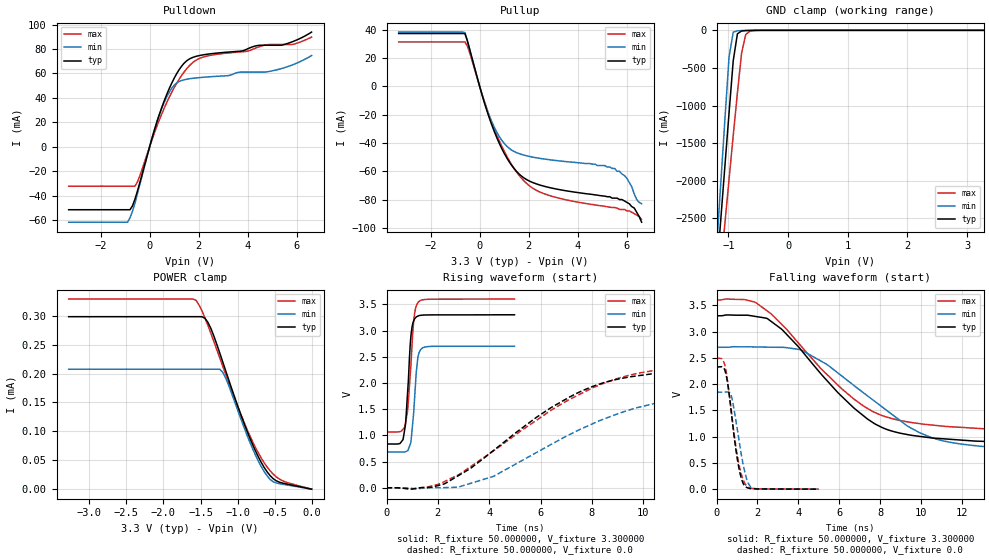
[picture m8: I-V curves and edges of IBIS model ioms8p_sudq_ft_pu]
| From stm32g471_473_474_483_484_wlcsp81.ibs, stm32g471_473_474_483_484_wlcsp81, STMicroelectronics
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|   Model ioms8p_sudq_ft_pu
[Model]  ioms8p_sudq_ft_pu
Model_type I/O
Polarity   Non-Inverting
Enable   Active-Low
Vinl =   0.990000V
Vinh =   2.310000V
Vmeas =  1.650000V
Cref =   50.000000pF
Rref =   100.000000M
Vref =   0.0V
C_comp   2.036400pF   1.984000pF   2.082300pF
[Temperature Range]   25.000000   -40.000000   0.125000k
[Pullup Reference]   3.300000V   2.700000V   3.600000V
[Pulldown Reference]   0.0V   0.0V   0.0V
[POWER Clamp Reference]   3.300000V   2.700000V   3.600000V
[GND Clamp Reference]   0.0V   0.0V   0.0V
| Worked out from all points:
|   slope of the pulldown table from 0 to 0.495 V, typ, clamps not added: 15.4 ohm
|   slope of the pullup table from 0 to 0.495 V, typ, clamps not added: 18.1 ohm
|   GND clamp passes 1 mA (typ) near -0.60 V on its own axis
|   rising waveform, R_fixture 50.000000, V_fixture 3.300000: 20-80 % time 178ps typ, 187ps min, 205ps max; typ from 0.836 V to 3.3 V
|   rising waveform, R_fixture 50.000000, V_fixture 0.0: 20-80 % time 4.14ns typ, 4.69ns min, 4.89ns max; typ from 0.001 V to 2.33 V
|   falling waveform, R_fixture 50.000000, V_fixture 3.300000: 20-80 % time 3.64ns typ, 4.21ns min, 3.93ns max; typ from 3.3 V to 0.836 V
|   falling waveform, R_fixture 50.000000, V_fixture 0.0: 20-80 % time 467ps typ, 485ps min, 522ps max; typ from 2.33 V to 0.001 V
[Pulldown]
|Voltage   I(typ)   I(min)   I(max)
-3.3V     -51.62mA   -61.84mA   -32.32mA
-900mV    -51.62mA   -61.84mA   -32.32mA
-800mV    -51.62mA   -58.24mA   -32.32mA
-500mV    -36.51mA   -38.7mA    -28.96mA
400mV     26.66mA    26.58mA    22.18mA
800mV     47.72mA    44.74mA    40.6mA
1.1V      59.79mA    52.18mA    51.93mA
1.5V      70.22mA    55.24mA    63.66mA
2.1V      74.97mA    56.75mA    72.88mA
4.9V      83.13mA    61.75mA    83.74mA
5.8V      85.85mA    66.87mA    83.74mA
6.6V      93.9mA     74.68mA    89.84mA
[Pullup]
|Voltage   I(typ)   I(min)   I(max)
-3.3V     37.31mA    38.34mA    31.43mA
-600mV    37.31mA    38mA       31.43mA
100mV     -6.166mA   -5.972mA   -5.649mA
500mV     -27.53mA   -25.31mA   -25.83mA
1V        -47.29mA   -40.29mA   -45.86mA
1.5V      -60.05mA   -46.83mA   -60.43mA
2V        -66.7mA    -49.43mA   -69.91mA
2.7V      -70.92mA   -51.53mA   -76.33mA
5.5V      -79mA      -58mA      -85.6mA
6V        -82mA      -65mA      -88mA
6.3V      -86mA      -76mA      -90mA
6.6V      -96mA      -83mA      -94mA
[GND_clamp]
|Voltage   I(typ)   I(min)   I(max)
-3.3V     -9.812A    -9.822A    -9.937A
-1.2V     -3.251A    -2.905A    -3.763A
-1.13V    -2.527A    -2.046A    -3.165A
-1.06V    -1.808A    -1.191A    -2.57A
-990mV    -1.097A    -352.6mA   -1.979A
-920mV    -404.2mA   -25.08mA   -1.398A
-850mV    -46.53mA   -6.503mA   -832.3mA
-780mV    -8.496mA   -3.578mA   -302.4mA
-710mV    -3.383mA   -1.716mA   -53.8mA
-640mV    -1.589mA   -553.8uA   -11.72mA
-360mV    -2.023uA   0A         -84.67uA
3.28V     0A         0A         0A
[POWER_clamp]
|Voltage   I(typ)   I(min)   I(max)
-3.28V    298.2uA    207.4uA    328.7uA
-1.56V    298.2uA    207.4uA    326.5uA
-1.48V    298.2uA    207.4uA    308.2uA
-1.4V     288.5uA    207.4uA    283.1uA
-1.24V    235.4uA    207.4uA    226.9uA
-1.2V     220.1uA    202.1uA    212.7uA
-1.12V    189.4uA    179.6uA    184.4uA
-920mV    116.5uA    109.4uA    118.1uA
-680mV    46.31uA    39.06uA    53.8uA
-560mV    23.38uA    16.91uA    31.65uA
-480mV    14.66uA    10.76uA    21.51uA
0V        0A         0A         0A
[Ramp]
| variable   typ   min   max
dV/dt_r  1.39438/4.13944n   1.10706/4.68061n   1.49046/4.88087n
dV/dt_f  1.47845/3.63362n   1.20996/4.20719n   1.52034/3.92626n
R_load = 50.000000
[Rising Waveform]
R_fixture= 50.000000
V_fixture= 3.300000
V_fixture_min= 2.700000
V_fixture_max= 3.600000
|time   V(typ)   V(min)   V(max)
0s        836mV      684mV      1.066V
530.5ps   847.8mV    682.8mV    1.074V
710.7ps   1.122V     683.9mV    1.163V
820.8ps   1.816V     708.1mV    1.469V
961ps     2.946V     929.7mV    2.437V
1.061ns   3.19V      1.459V     3.194V
1.161ns   3.26V      2.217V     3.47V
1.261ns   3.283V     2.567V     3.553V
1.481ns   3.295V     2.684V     3.591V
4.985ns   3.3V       2.7V       3.6V
[Rising Waveform]
R_fixture= 50.000000
V_fixture= 0.0
V_fixture_min= 0.0
V_fixture_max= 0.0
|time   V(typ)   V(min)   V(max)
0s        944.1uV    604.4uV    1.54mV
1.041ns   -19.12mV   -12.87mV   -19.76mV
2.242ns   73.5mV     3.677mV    116.8mV
4.164ns   710.2mV    218.2mV    704.8mV
5.846ns   1.347V     674.4mV    1.29V
7.528ns   1.829V     1.112V     1.784V
9.049ns   2.076V     1.42V      2.092V
10.73ns   2.19V      1.633V     2.262V
16.82ns   2.305V     1.821V     2.437V
39.88ns   2.325V     1.846V     2.486V
[Falling Waveform]
R_fixture= 50.000000
V_fixture= 3.300000
V_fixture_min= 2.700000
V_fixture_max= 3.600000
|time   V(typ)   V(min)   V(max)
0s        3.3V       2.7V       3.6V
1.922ns   3.285V     2.706V     3.549V
2.482ns   3.246V     2.702V     3.389V
4.084ns   2.672V     2.656V     2.743V
6.086ns   1.777V     2.164V     1.921V
7.367ns   1.337V     1.778V     1.538V
9.53ns    1.025V     1.157V     1.268V
11.29ns   952.7mV    901mV      1.192V
14.73ns   890.4mV    767.6mV    1.128V
39.88ns   836mV      684mV      1.066V
[Falling Waveform]
R_fixture= 50.000000
V_fixture= 0.0
V_fixture_min= 0.0
V_fixture_max= 0.0
|time   V(typ)   V(min)   V(max)
0s        2.325V     1.846V     2.486V
400.4ps   2.271V     1.847V     2.368V
540.5ps   2.028V     1.851V     2.049V
720.7ps   1.468V     1.78V      1.49V
1.081ns   427.2mV    978.2mV    502.4mV
1.281ns   127.2mV    509.1mV    198.2mV
1.441ns   41.29mV    238mV      75.65mV
1.662ns   12.65mV    46.57mV    21.91mV
1.882ns   6.618mV    11.2mV     10.59mV
4.985ns   944.1uV    604.4uV    1.54mV
